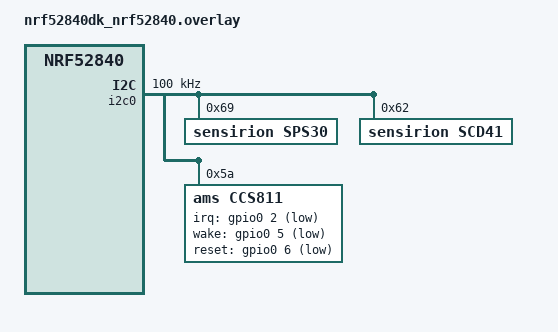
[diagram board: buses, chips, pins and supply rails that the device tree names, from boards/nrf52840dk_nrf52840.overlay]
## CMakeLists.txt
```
cmake_minimum_required(VERSION 3.20.0)

list(APPEND ZEPHYR_EXTRA_MODULES
  ${CMAKE_CURRENT_SOURCE_DIR}/drivers
)


find_package(Zephyr REQUIRED HINTS $ENV{ZEPHYR_BASE})



project(project_ssns)

target_sources(app PRIVATE src/main.c)
zephyr_include_directories(drivers)
```

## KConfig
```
rsource "drivers/Kconfig"
source "Kconfig.zephyr"
```

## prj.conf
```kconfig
# Enable OpenThread FTD features
#CONFIG_OPENTHREAD_LIBRARY=y
CONFIG_OPENTHREAD_NORDIC_LIBRARY_FTD=y
CONFIG_NET_L2_OPENTHREAD=y
CONFIG_NETWORKING=y
CONFIG_NET_IPV6=y
CONFIG_NET_UDP=y

# OpenThread Network Settings
CONFIG_OPENTHREAD_MANUAL_START=n
CONFIG_OPENTHREAD_NETWORK_NAME="WSN69"
CONFIG_OPENTHREAD_PANID=10000
CONFIG_OPENTHREAD_XPANID="fb:02:00:00:ab:cd:00:01"
CONFIG_OPENTHREAD_NETWORKKEY="00:11:22:33:44:55:66:77:88:99:aa:bb:cc:dd:ee:ff"
CONFIG_OPENTHREAD_CHANNEL=20

# Logging
CONFIG_LOG=y
CONFIG_LOG_DEFAULT_LEVEL=3

# Shell (optional)
CONFIG_SHELL=y
CONFIG_OPENTHREAD_SHELL=y

# Sensor Support
CONFIG_SENSOR=y
CONFIG_CCS811=y
CONFIG_SCD4X=y
CONFIG_SPS30=y

# CoAP
CONFIG_OPENTHREAD_COAP=y
CONFIG_NET_CONFIG_SETTINGS=y
```

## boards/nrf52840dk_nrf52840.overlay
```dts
&i2c0 {
    status = "okay";
    clock-frequency = <I2C_BITRATE_STANDARD>;

    sps30@69 {
        compatible = "sensirion,sps30";
        reg = <0x69>;
        status = "okay";
        model = "sps30";
    };

    scd41@62 {
        compatible = "sensirion,scd41";
        reg = <0x62>;
        label = "SCD41";
        mode = <0>;
    };

    ccs811: ccs811@5a {
        compatible = "ams,ccs811";
        reg = <0x5a>;
        irq-gpios = <&gpio0 2 GPIO_ACTIVE_LOW>;
        wake-gpios = <&gpio0 5 GPIO_ACTIVE_LOW>;
        reset-gpios = <&gpio0 6 GPIO_ACTIVE_LOW>;
    };
};
```

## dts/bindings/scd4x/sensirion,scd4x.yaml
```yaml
# Copyright (c) 2024, Jan Fäh
# SPDX-License-Identifier: Apache-2.0

description: Sensirion SCD4x temperature sensor

compatible: "sensirion,scd41"

include: i2c-device.yaml

properties:
  mode:
    type: int
    required: true
    description: |
      - 0: Normal periodic measurement. Default interval of 5sec
      - 1: Low power periodic measurement. Interval of 30sec
      - 2: Singleshot measurement for low power usage.
    enum:
      - 0
      - 1
      - 2
```

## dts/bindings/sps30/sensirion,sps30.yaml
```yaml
description: Sensirion SPS30 particulate matter sensor

compatible: "sensirion,sps30"

include: i2c-device.yaml

properties:
  reg:
    required: true
    description: I2C address of the sensor

  label:
    type: string
    deprecated: true
    description: Human-readable label for the device

  model:
    type: string
    required: true
    description: |
      The sensor model in use
    enum:
      - "sps30"
```

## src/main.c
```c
#include <zephyr/kernel.h>
#include <zephyr/device.h>
#include <zephyr/drivers/sensor.h>
#include "sensor/sps30/sps30.h"
#include <zephyr/sys/printk.h>
#include <zephyr/logging/log.h>
#include <zephyr/drivers/sensor/ccs811.h>
#include "sensor/scd4x/scd4x.h"

// COAP BEGIN
#include <zephyr/net/openthread.h>
#include <openthread/thread.h>
#include <openthread/coap.h>
#include <string.h>

static void coap_init(void)
{
    otInstance *inst = openthread_get_default_instance();
    otError err = otCoapStart(inst, OT_DEFAULT_COAP_PORT);
    if (err != OT_ERROR_NONE)
    {
        printk("Failed to start CoAP: %d\n", err);
    }
}

static void coap_send_data_request(const char *payload)
{
    otInstance *inst = openthread_get_default_instance();
    otError error = OT_ERROR_NONE;
    otMessage *msg = NULL;
    otMessageInfo msg_info;
    const otMeshLocalPrefix *prefix = otThreadGetMeshLocalPrefix(inst);
    uint8_t dst_suffix[8] = {0, 0, 0, 0, 0, 0, 0, 1};

    do
    {
        msg = otCoapNewMessage(inst, NULL);
        if (!msg)
        {
            printk("Failed to allocate CoAP message\n");
            return;
        }

        otCoapMessageInit(msg, OT_COAP_TYPE_CONFIRMABLE, OT_COAP_CODE_PUT);
        error = otCoapMessageAppendUriPathOptions(msg, "storedata");
        if (error != OT_ERROR_NONE)
            break;

        error = otCoapMessageAppendContentFormatOption(msg, OT_COAP_OPTION_CONTENT_FORMAT_JSON);
        if (error != OT_ERROR_NONE)
            break;

        error = otCoapMessageSetPayloadMarker(msg);
        if (error != OT_ERROR_NONE)
            break;

        error = otMessageAppend(msg, (const void *)payload, strlen(payload));
        if (error != OT_ERROR_NONE)
            break;

        memset(&msg_info, 0, sizeof(msg_info));
        memcpy(&msg_info.mPeerAddr.mFields.m8[0], prefix, 8);
        memcpy(&msg_info.mPeerAddr.mFields.m8[8], dst_suffix, 8);
        msg_info.mPeerPort = OT_DEFAULT_COAP_PORT;

        error = otCoapSendRequest(inst, msg, &msg_info, NULL, NULL);
    } while (false);

    if (error != OT_ERROR_NONE)
    {
        printk("CoAP send failed: %d\n", error);
        if (msg)
            otMessageFree(msg);
    }
    else
    {
        printk("CoAP payload sent.\n");
    }
}
// COAP END

#if !DT_HAS_COMPAT_STATUS_OKAY(sensirion_scd41)
#error "No sensirion,scd4x compatible node found in the device tree"
#endif
#if !DT_HAS_COMPAT_STATUS_OKAY(sensirion_sps30)
#error "No sensirion,sps30 compatible node found in the device tree"
#endif

const struct device *scd41 = DEVICE_DT_GET_ANY(sensirion_scd41);
const struct device *ccs811 = DEVICE_DT_GET_ANY(ams_ccs811);
const struct device *sps30 = DEVICE_DT_GET_ANY(sensirion_sps30);

int main(void)
{
    coap_init(); // COAP INIT CALL

    if (!device_is_ready(scd41) || !device_is_ready(ccs811) || !device_is_ready(sps30))
    {
        printk("Sensor(s) not ready\n");
        return 1;
    }

    struct sensor_value pm_1p0, pm_2p5, pm_10p0, pm_4p0, pm_0p5, pm_1p0_nc, pm_2p5_nc, pm_4p0_nc, pm_10p0_nc, typical_particle_size;
    struct sensor_value co2, temo, humi, eco2, tvoc;
    char json_buf[1024];

    while (true)
    {
        sensor_sample_fetch(scd41);
        sensor_channel_get(scd41, SENSOR_CHAN_CO2_SCD, &co2);
        sensor_channel_get(scd41, SENSOR_CHAN_AMBIENT_TEMP, &temo);
        sensor_channel_get(scd41, SENSOR_CHAN_HUMIDITY, &humi);

        if (sensor_sample_fetch(ccs811) == 0)
        {
            sensor_channel_get(ccs811, SENSOR_CHAN_CO2, &eco2);
            sensor_channel_get(ccs811, SENSOR_CHAN_VOC, &tvoc);
        }

        sensor_sample_fetch(sps30);
        sensor_channel_get(sps30, SENSOR_CHAN_PM_1_0, &pm_1p0);
        sensor_channel_get(sps30, SENSOR_CHAN_PM_2_5, &pm_2p5);
        sensor_channel_get(sps30, SENSOR_CHAN_PM_10, &pm_10p0);
        sensor_channel_get(sps30, SENSOR_CHAN_PM_4_0, &pm_4p0);
        sensor_channel_get(sps30, SENSOR_CHAN_PM_0_5, &pm_0p5);
        sensor_channel_get(sps30, SENSOR_CHAN_PM_1_0_NC, &pm_1p0_nc);
        sensor_channel_get(sps30, SENSOR_CHAN_PM_2_5_NC, &pm_2p5_nc);
        sensor_channel_get(sps30, SENSOR_CHAN_PM_4_0_NC, &pm_4p0_nc);
        sensor_channel_get(sps30, SENSOR_CHAN_PM_10_NC, &pm_10p0_nc);
        sensor_channel_get(sps30, SENSOR_CHAN_PM_TYPICAL_PARTICLE_SIZE, &typical_particle_size);

        snprintf(json_buf, sizeof(json_buf),
                 "<DATA>%d.%06d,%d.%06d,%d.%06d,%d.%06d,%d.%06d,%d.%06d</DATA>",
                 co2.val1, co2.val2,
                 temo.val1, temo.val2,
                 humi.val1, humi.val2,
                 tvoc.val1, tvoc.val2,
                 pm_2p5.val1, pm_2p5.val2,
                 pm_10p0.val1, pm_10p0.val2);

        printk("%s\n", json_buf);

        // COAP BEGIN
        coap_send_data_request(json_buf);
        // COAP END

        k_sleep(K_SECONDS(5));
    }

    return 0;
}
```
